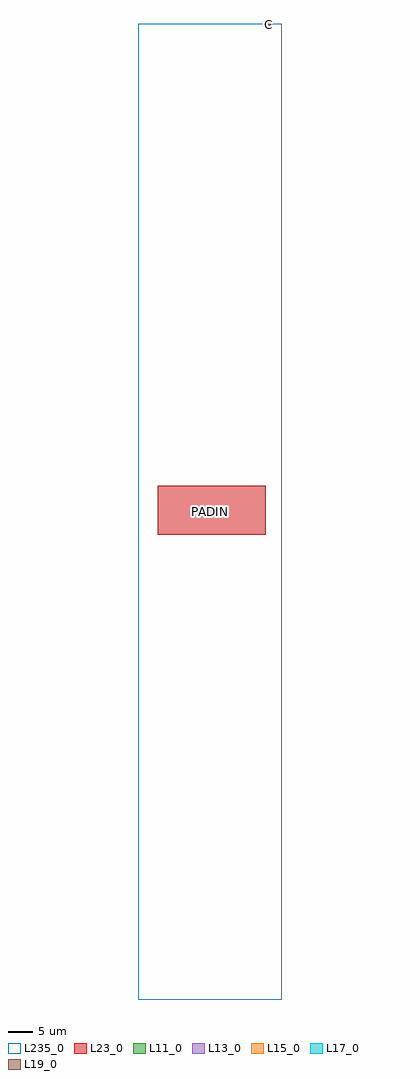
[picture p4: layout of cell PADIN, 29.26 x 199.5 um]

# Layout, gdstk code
import gdstk
lib = gdstk.Library(unit=1e-6, precision=5e-10)
def R(c, l, rs):  # rectangles x0, y0, x1, y1
    for r in rs: c.add(gdstk.rectangle(r[:2], r[2:], *l))
L11_0 = (11, 0)
L13_0 = (13, 0)
L15_0 = (15, 0)
L17_0 = (17, 0)
L19_0 = (19, 0)
L23_0 = (23, 0)
L235_0 = (235, 0)

padin = lib.new_cell('PADIN')
R(padin, L11_0, [(26,199,27,199.5)])
R(padin, L13_0, [(26,199,27,199.5)])
R(padin, L15_0, [(26,199,27,199.5)])
R(padin, L17_0, [(26,199,27,199.5)])
R(padin, L19_0, [(26,199,27,199.5)])
R(padin, L23_0, [(4,95,26,105)])
R(padin, L235_0, [(0,0,29.26,199.5)])
padin.add(gdstk.Label('PADIN', (14.63,99.75), layer=108, texttype=3))
padin.add(gdstk.Label('PAD', (15,100), layer=23, texttype=0))
padin.add(gdstk.Label('C', (26.5,199.25), layer=11, texttype=0))
padin.add(gdstk.Label('C', (26.5,199.25), layer=13, texttype=0))
padin.add(gdstk.Label('C', (26.5,199.25), layer=15, texttype=0))
padin.add(gdstk.Label('C', (26.5,199.25), layer=17, texttype=0))
padin.add(gdstk.Label('C', (26.5,199.25), layer=19, texttype=0))

lib.write_gds('PADIN.gds')
